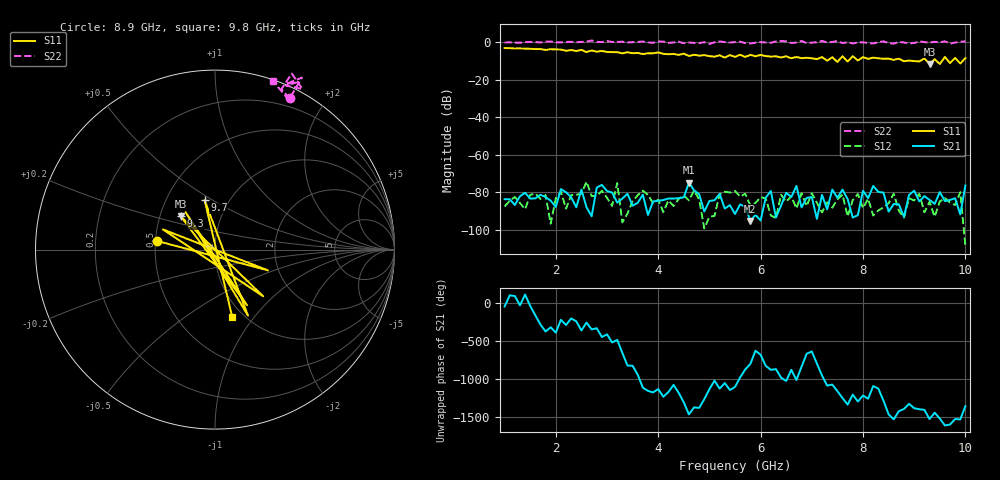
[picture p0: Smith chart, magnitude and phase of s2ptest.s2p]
!test
!File generated by LCAF-GAM-UPV software
!josevmart@iteam.upv.es
!S2P File: Measurements: S11, S21, S12, S22:
# Hz S  dB  R 50
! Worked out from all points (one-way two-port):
!   91 points, 1 GHz to 10 GHz, reference 50 ohm
!   highest |S21| = -74.78 dB at 4.6 GHz (marker M1); lowest = -95.2 dB at 5.8 GHz (marker M2)
!   lowest |S11| = -11.5 dB at 9.3 GHz (marker M3), VSWR 1.72, Z = 32 + j12.8 ohm
!   |S11| at or under -10 dB: 7.483908 GHz to 7.513401 GHz (29.49 MHz wide, 0.393 % of centre); 7.693251 GHz to 7.706774 GHz (13.52 MHz wide, 0.176 % of centre); 8.796234 GHz to 8.812988 GHz (16.75 MHz wide, 0.19 % of centre) (the widest 3 of 8)
!   |S22| runs from -0.8 to 1.1 dB; largest |S21 - S12| = 0.00025
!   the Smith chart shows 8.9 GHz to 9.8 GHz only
!   S11 on the Smith chart (normalised r, x): 8.9 GHz: 0.51, +0.06; 9.3 GHz: 0.64, +0.26; 9.7 GHz: 0.77, +0.46; 9.8 GHz: 0.89, -0.78
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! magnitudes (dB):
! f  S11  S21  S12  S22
! 1 GHz  -3.0  -83.6  -87.5  -0.1
! 2.5 GHz  -4.0  -78.5  -80.7  0.3
! 2.6 GHz  -5.2  -87.9  -74.3  0.4
! 2.7 GHz  -4.3  -92.7  -81.9  1.1
! 2.9 GHz  -4.6  -76.0  -79.1  0.2
! 3.1 GHz  -5.2  -80.1  -87.2  0.3
! 3.2 GHz  -5.2  -85.4  -75.0  0.3
! 3.3 GHz  -5.8  -83.3  -96.0  0.4
! 4 GHz  -5.3  -84.5  -83.9  0.6
! 4.5 GHz  -6.0  -82.6  -81.6  -0.4
! 4.6 GHz  -7.2  -74.8  -84.2  0.0
! 4.8 GHz  -7.1  -81.0  -83.8  -0.4
! 5.5 GHz  -7.7  -91.5  -79.2  0.2
! 5.8 GHz  -6.6  -95.2  -87.0  -0.6
! 6.7 GHz  -7.8  -76.5  -88.6  -0.1
! 7 GHz  -8.5  -82.5  -80.4  -0.1
! 8.5 GHz  -8.7  -90.2  -85.8  -0.3
! 8.9 GHz  -9.6  -81.3  -83.1  -0.5
! 9.3 GHz  -11.5  -84.0  -85.1  0.0
! 9.7 GHz  -11.0  -84.0  -85.5  -0.6
! 9.8 GHz  -8.2  -83.1  -86.7  -0.1
! 10 GHz  -8.4  -76.3  -108.7  0.6
